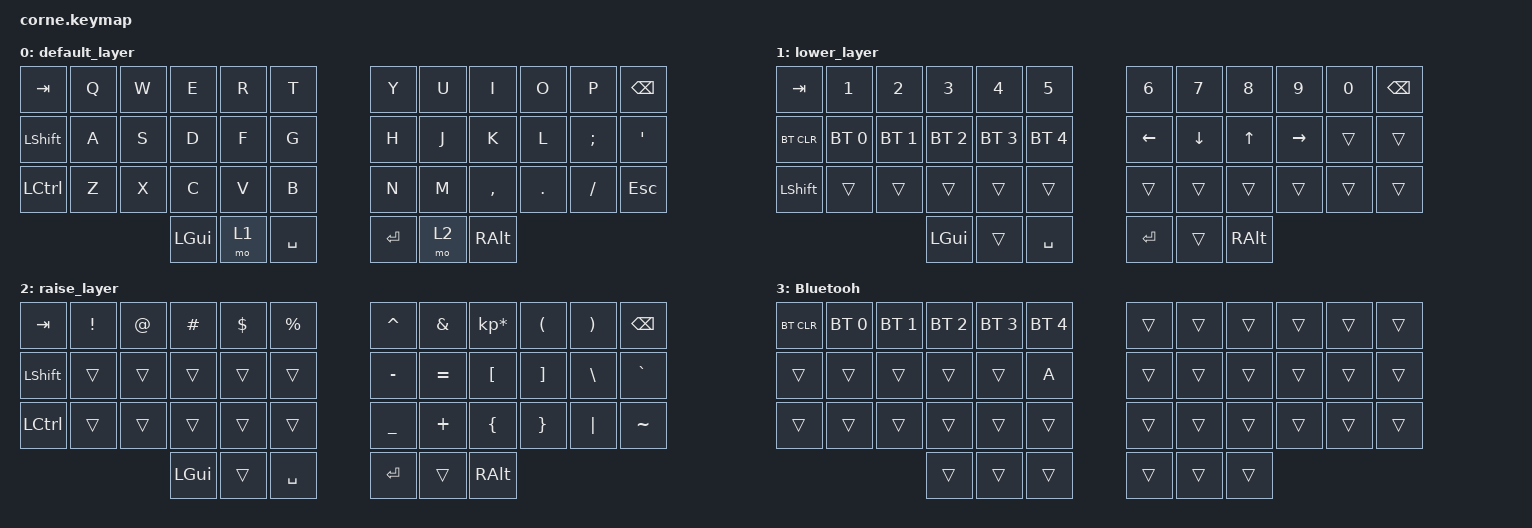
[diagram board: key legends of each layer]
/*
 * Copyright (c) 2020 The ZMK Contributors
 *

 * SPDX-License-Identifier: MIT
 */

#include <behaviors.dtsi>
#include <dt-bindings/zmk/bt.h>
#include <dt-bindings/zmk/keys.h>

/ {
    combos {
        compatible = "zmk,combos";

        Bluetooh {
            bindings = <&mo 3>;
            key-positions = <37 40>;
            layers = <3>;
        };
    };

    keymap {
        compatible = "zmk,keymap";

        default_layer {
            // -----------------------------------------------------------------------------------------
            // |  TAB |  Q  |  W  |  E  |  R  |  T  |   |  Y  |  U   |  I  |  O  |  P  | BKSP |
            // | SHFT |  A  |  S  |  D  |  F  |  G  |   |  H  |  J   |  K  |  L  |  ;  |  '   |
            // | CRTL |  Z  |  X  |  C  |  V  |  B  |   |  N  |  M   |  ,  |  .  |  /  | ESC  |
            //                    | GUI | LWR | SPC |   | ENT | RSE  | ALT |

            bindings = <
&kp TAB           &kp Q  &kp W  &kp E     &kp R  &kp T        &kp Y    &kp U  &kp I      &kp O    &kp P     &kp BSPC
&kp LEFT_SHIFT    &kp A  &kp S  &kp D     &kp F  &kp G        &kp H    &kp J  &kp K      &kp L    &kp SEMI  &kp SQT
&kp LEFT_CONTROL  &kp Z  &kp X  &kp C     &kp V  &kp B        &kp N    &kp M  &kp COMMA  &kp DOT  &kp FSLH  &kp ESC
                                &kp LGUI  &mo 1  &kp SPACE    &kp RET  &mo 2  &kp RALT
            >;
        };

        lower_layer {
            // -----------------------------------------------------------------------------------------
            // |  TAB |  1  |  2  |  3  |  4  |  5  |   |  6  |  7  |  8  |  9  |  0  | BKSP |
            // | BTCLR| BT1 | BT2 | BT3 | BT4 | BT5 |   | LFT | DWN |  UP | RGT |     |      |
            // | SHFT |     |     |     |     |     |   |     |     |     |     |     |      |
            //                    | GUI |     | SPC |   | ENT |     | ALT |

            bindings = <
&kp TAB     &kp N1        &kp N2        &kp N3        &kp N4        &kp N5          &kp N6    &kp N7    &kp N8    &kp N9     &kp N0  &kp BSPC
&bt BT_CLR  &bt BT_SEL 0  &bt BT_SEL 1  &bt BT_SEL 2  &bt BT_SEL 3  &bt BT_SEL 4    &kp LEFT  &kp DOWN  &kp UP    &kp RIGHT  &trans  &trans
&kp LSHFT   &trans        &trans        &trans        &trans        &trans          &trans    &trans    &trans    &trans     &trans  &trans
                                        &kp LGUI      &trans        &kp SPACE       &kp RET   &trans    &kp RALT
            >;
        };

        raise_layer {
            // -----------------------------------------------------------------------------------------
            // |  TAB |  !  |  @  |  #  |  $  |  %  |   |  ^  |  &  |  *  |  (  |  )  | BKSP |
            // | SHFT |     |     |     |     |     |   |  -  |  =  |  [  |  ]  |  \  |  `   |
            // | CTRL |     |     |     |     |     |   |  _  |  +  |  {  |  }  | "|" |  ~   |
            //                    | GUI |     | SPC |   | ENT |     | ALT |

            bindings = <
&kp TAB    &kp EXCL  &kp AT  &kp HASH  &kp DLLR  &kp PRCNT    &kp CARET  &kp AMPS   &kp KP_MULTIPLY  &kp LPAR  &kp RPAR  &kp BSPC
&kp LSHFT  &trans    &trans  &trans    &trans    &trans       &kp MINUS  &kp EQUAL  &kp LBKT         &kp RBKT  &kp BSLH  &kp GRAVE
&kp LCTRL  &trans    &trans  &trans    &trans    &trans       &kp UNDER  &kp PLUS   &kp LBRC         &kp RBRC  &kp PIPE  &kp TILDE
                             &kp LGUI  &trans    &kp SPACE    &kp RET    &trans     &kp RALT
            >;
        };

        Bluetooh {
            bindings = <
&bt BT_CLR  &bt BT_SEL 0  &bt BT_SEL 1  &bt BT_SEL 2  &bt BT_SEL 3  &bt BT_SEL 4    &trans  &trans  &trans  &trans  &trans  &trans
&trans      &trans        &trans        &trans        &trans        &kp A           &trans  &trans  &trans  &trans  &trans  &trans
&trans      &trans        &trans        &trans        &trans        &trans          &trans  &trans  &trans  &trans  &trans  &trans
                                        &trans        &trans        &trans          &trans  &trans  &trans
            >;
        };
    };
};
